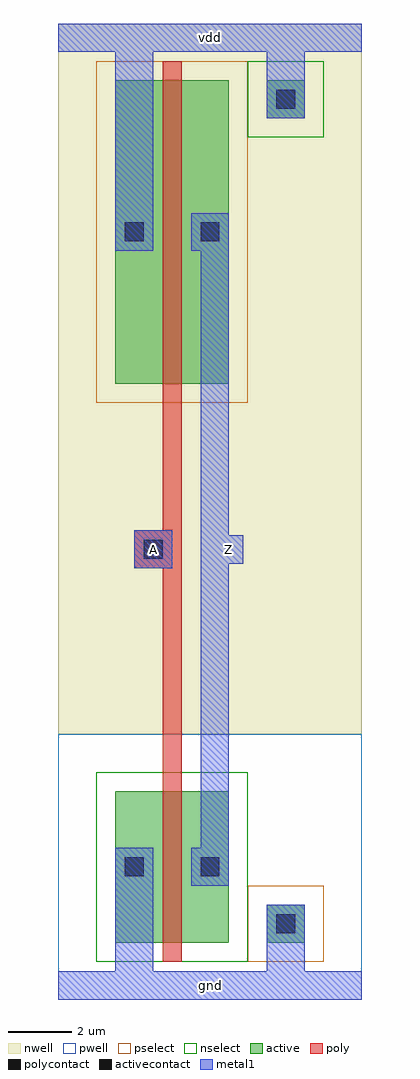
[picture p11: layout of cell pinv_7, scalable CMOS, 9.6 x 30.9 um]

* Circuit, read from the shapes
.subckt pinv_7 A Z gnd vdd
M1 Z A gnd gnd nfet w=4.8u l=0.6u
M2 Z A vdd vdd pfet w=9.6u l=0.6u
.ends

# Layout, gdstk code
import gdstk
lib = gdstk.Library(unit=1e-6, precision=1e-09)
def R(c, l, rs):  # rectangles x0, y0, x1, y1
    for r in rs: c.add(gdstk.rectangle(r[:2], r[2:], *l))
pwell = (41, 0)
nwell = (42, 0)
active = (43, 0)
pselect = (44, 0)
nselect = (45, 0)
poly = (46, 0)
polycontact = (47, 0)
activecontact = (48, 0)
metal1 = (49, 0)

active_contact_metal1_1x = lib.new_cell('active_contact_metal1_1x1_pn')
R(active_contact_metal1_1x, nwell, [(-1.8,-1.8,3,3)])
R(active_contact_metal1_1x, active, [(0,0,1.2,1.2)])
R(active_contact_metal1_1x, pselect, [(-0.6,-0.6,1.8,1.8)])
R(active_contact_metal1_1x, activecontact, [(0.3,0.3,0.9,0.9)])
R(active_contact_metal1_1x, metal1, [(0,0,1.2,1.2)])

pmos_m1_w9_6_a_p = lib.new_cell('pmos_m1_w9_6_a_p')
R(pmos_m1_w9_6_a_p, nwell, [(-1.8,-1.8,5.4,11.4)])
R(pmos_m1_w9_6_a_p, active, [(0,0,3.6,9.6)])
R(pmos_m1_w9_6_a_p, pselect, [(-0.6,-0.6,4.2,10.2)])
R(pmos_m1_w9_6_a_p, poly, [(1.5,-0.6,2.1,10.2), (1.5,-0.6,2.1,10.2)])
R(pmos_m1_w9_6_a_p, metal1, [(0,4.2,1.2,5.4), (2.4,4.2,3.6,5.4)])
pmos_m1_w9_6_a_p.add(gdstk.Reference(active_contact_metal1_1x, (0,4.2)))
pmos_m1_w9_6_a_p.add(gdstk.Reference(active_contact_metal1_1x, (2.4,4.2)))
pmos_m1_w9_6_a_p.add(gdstk.Label('G', (1.8,4.8), layer=46, texttype=0))
pmos_m1_w9_6_a_p.add(gdstk.Label('S', (0.6,4.8), layer=49, texttype=0))
pmos_m1_w9_6_a_p.add(gdstk.Label('D', (3,4.8), layer=49, texttype=0))

c_active_contact_metal1_1x = lib.new_cell('active_contact_metal1_1x1_np')
R(c_active_contact_metal1_1x, pwell, [(-1.8,-1.8,3,3)])
R(c_active_contact_metal1_1x, active, [(0,0,1.2,1.2)])
R(c_active_contact_metal1_1x, nselect, [(-0.6,-0.6,1.8,1.8)])
R(c_active_contact_metal1_1x, activecontact, [(0.3,0.3,0.9,0.9)])
R(c_active_contact_metal1_1x, metal1, [(0,0,1.2,1.2)])

nmos_m1_w4_8_a_p = lib.new_cell('nmos_m1_w4_8_a_p')
R(nmos_m1_w4_8_a_p, pwell, [(-1.8,-1.8,5.4,6.6)])
R(nmos_m1_w4_8_a_p, active, [(0,0,3.6,4.8)])
R(nmos_m1_w4_8_a_p, nselect, [(-0.6,-0.6,4.2,5.4)])
R(nmos_m1_w4_8_a_p, poly, [(1.5,-0.6,2.1,5.4), (1.5,-0.6,2.1,5.4)])
R(nmos_m1_w4_8_a_p, metal1, [(0,1.8,1.2,3), (2.4,1.8,3.6,3)])
nmos_m1_w4_8_a_p.add(gdstk.Reference(c_active_contact_metal1_1x, (0,1.8)))
nmos_m1_w4_8_a_p.add(gdstk.Reference(c_active_contact_metal1_1x, (2.4,1.8)))
nmos_m1_w4_8_a_p.add(gdstk.Label('G', (1.8,2.4), layer=46, texttype=0))
nmos_m1_w4_8_a_p.add(gdstk.Label('S', (0.6,2.4), layer=49, texttype=0))
nmos_m1_w4_8_a_p.add(gdstk.Label('D', (3,2.4), layer=49, texttype=0))

c_active_contact_metal1_1x_ = lib.new_cell('active_contact_metal1_1x1_nn')
R(c_active_contact_metal1_1x_, nwell, [(-1.8,-1.8,3,3)])
R(c_active_contact_metal1_1x_, active, [(0,0,1.2,1.2)])
R(c_active_contact_metal1_1x_, nselect, [(-0.6,-0.6,1.8,1.8)])
R(c_active_contact_metal1_1x_, activecontact, [(0.3,0.3,0.9,0.9)])
R(c_active_contact_metal1_1x_, metal1, [(0,0,1.2,1.2)])

c_active_contact_metal1_1x__ = lib.new_cell('active_contact_metal1_1x1_pp')
R(c_active_contact_metal1_1x__, pwell, [(-1.8,-1.8,3,3)])
R(c_active_contact_metal1_1x__, active, [(0,0,1.2,1.2)])
R(c_active_contact_metal1_1x__, pselect, [(-0.6,-0.6,1.8,1.8)])
R(c_active_contact_metal1_1x__, activecontact, [(0.3,0.3,0.9,0.9)])
R(c_active_contact_metal1_1x__, metal1, [(0,0,1.2,1.2)])

poly_contact_metal1_1x1 = lib.new_cell('poly_contact_metal1_1x1')
R(poly_contact_metal1_1x1, poly, [(0,0,1.2,1.2)])
R(poly_contact_metal1_1x1, polycontact, [(0.3,0.3,0.9,0.9)])
R(poly_contact_metal1_1x1, metal1, [(0,0,1.2,1.2)])

pinv_7 = lib.new_cell('pinv_7')
R(pinv_7, pwell, [(0,-0.45,9.6,7.95)])
R(pinv_7, nwell, [(0,7.95,9.6,30.45)])
R(pinv_7, poly, [(3.3,0.75,3.9,18.45), (3,13.2,3.3,14.4)])
R(pinv_7, metal1, [(0,-0.45,9.6,0.45), (1.8,-0.45,3,3.15), (6.6,0,7.8,1.95), (4.5,3.15,5.4,23.25), (2.4,13.2,3.6,14.4), (4.95,13.35,5.85,14.25), (1.8,23.25,3,30.45), (6.6,28.05,7.8,30), (0,29.55,9.6,30.45)])
pinv_7.add(gdstk.Reference(pmos_m1_w9_6_a_p, (1.8,19.05)))
pinv_7.add(gdstk.Reference(nmos_m1_w4_8_a_p, (1.8,1.35)))
pinv_7.add(gdstk.Reference(c_active_contact_metal1_1x_, (6.6,27.45)))
pinv_7.add(gdstk.Reference(c_active_contact_metal1_1x__, (6.6,1.35)))
pinv_7.add(gdstk.Reference(poly_contact_metal1_1x1, (2.4,13.2)))
pinv_7.add(gdstk.Label('gnd', (4.8,0), layer=49, texttype=0))
pinv_7.add(gdstk.Label('vdd', (4.8,30), layer=49, texttype=0))
pinv_7.add(gdstk.Label('A', (3,13.8), layer=49, texttype=0))
pinv_7.add(gdstk.Label('Z', (5.4,13.8), layer=49, texttype=0))

lib.write_gds('pinv_7.gds')
